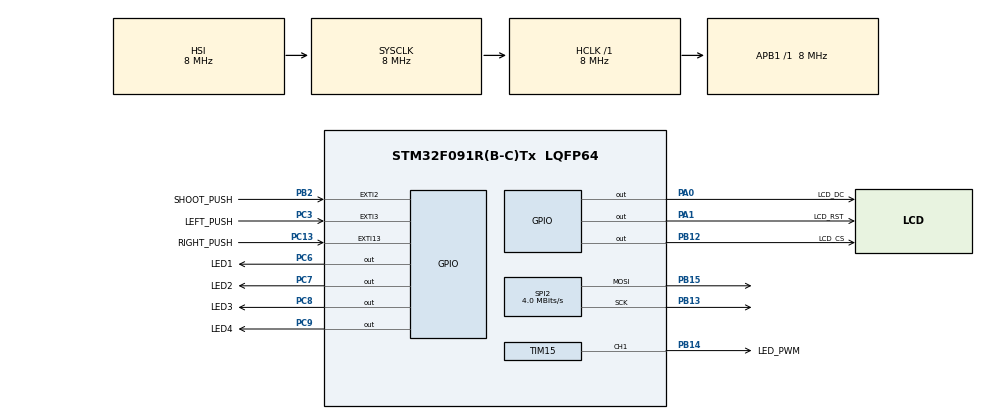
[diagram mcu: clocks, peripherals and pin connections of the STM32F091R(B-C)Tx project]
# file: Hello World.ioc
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Dma.Request0=SPI2_TX
Dma.SPI2_TX.0.Direction=DMA_MEMORY_TO_PERIPH
Dma.SPI2_TX.0.Instance=DMA1_Channel5
Dma.SPI2_TX.0.MemDataAlignment=DMA_MDATAALIGN_BYTE
Dma.SPI2_TX.0.MemInc=DMA_MINC_ENABLE
Dma.SPI2_TX.0.Mode=DMA_NORMAL
Dma.SPI2_TX.0.PeriphDataAlignment=DMA_PDATAALIGN_BYTE
Dma.SPI2_TX.0.PeriphInc=DMA_PINC_DISABLE
Dma.SPI2_TX.0.Priority=DMA_PRIORITY_LOW
Mcu.Family=STM32F0
Mcu.Name=STM32F091R(B-C)Tx
Mcu.Package=LQFP64
NVIC.DMA1_Ch4_7_DMA2_Ch3_5_IRQn=true\:0\:0\:false\:false\:true\:false\:true\:true
NVIC.EXTI2_3_IRQn=true\:0\:0\:false\:false\:true\:true\:true\:true
NVIC.EXTI4_15_IRQn=true\:0\:0\:false\:false\:true\:true\:true\:true
PA0.GPIO_Label=LCD_DC
PA0.Signal=GPIO_Output
PA1.GPIO_Label=LCD_RST
PA1.Signal=GPIO_Output
PB12.GPIO_Label=LCD_CS
PB12.Signal=GPIO_Output
PB13.Mode=TX_Only_Simplex_Unidirect_Master
PB13.Signal=SPI2_SCK
PB14.GPIO_Label=LED_PWM
PB14.Signal=S_TIM15_CH1
PB15.Mode=TX_Only_Simplex_Unidirect_Master
PB15.Signal=SPI2_MOSI
PB2.GPIO_Label=SHOOT_PUSH
PB2.GPIO_PuPd=GPIO_PULLDOWN
PB2.Signal=GPXTI2
PC13.GPIO_Label=RIGHT_PUSH
PC13.GPIO_ModeDefaultEXTI=GPIO_MODE_IT_RISING_FALLING
PC13.GPIO_PuPd=GPIO_PULLDOWN
PC13.Signal=GPXTI13
PC3.GPIO_Label=LEFT_PUSH
PC3.GPIO_ModeDefaultEXTI=GPIO_MODE_IT_RISING_FALLING
PC3.GPIO_PuPd=GPIO_PULLDOWN
PC3.Signal=GPXTI3
PC6.GPIO_Label=LED1
PC6.Signal=GPIO_Output
PC7.GPIO_Label=LED2
PC7.Signal=GPIO_Output
PC8.GPIO_Label=LED3
PC8.Signal=GPIO_Output
PC9.GPIO_Label=LED4
PC9.Signal=GPIO_Output
ProjectManager.HeapSize=0x200
ProjectManager.StackSize=0x400
ProjectManager.TargetToolchain=STM32CubeIDE
RCC.AHBFreq_Value=8000000
RCC.APB1Freq_Value=8000000
RCC.APB1TimFreq_Value=8000000
RCC.HCLKFreq_Value=8000000
RCC.SYSCLKFreq_VALUE=8000000
SH.S_TIM15_CH1.0=TIM15_CH1,PWM Generation1 CH1
SPI2.CalculateBaudRate=4.0 MBits/s
SPI2.DataSize=SPI_DATASIZE_8BIT
SPI2.Direction=SPI_DIRECTION_2LINES
SPI2.Mode=SPI_MODE_MASTER
SPI2.VirtualType=VM_MASTER
TIM15.Channel-PWM\ Generation1\ CH1=TIM_CHANNEL_1
TIM15.Period=10000-1
TIM15.Prescaler=8-1
TIM15.Pulse-PWM\ Generation1\ CH1=65535
VP_CRC_VS_CRC.Mode=CRC_Activate
board=custom

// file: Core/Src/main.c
/* USER CODE BEGIN Header */
/**
  ******************************************************************************
  * @file           : main.c
  * @brief          : Main program body
  ******************************************************************************
  * @attention
  *
  * Copyright (c) 2025 STMicroelectronics.
  * All rights reserved.
  *
  * This software is licensed under terms that can be found in the LICENSE file
  * in the root directory of this software component.
  * If no LICENSE file comes with this software, it is provided AS-IS.
  *
  ******************************************************************************
  */
/* USER CODE END Header */
#include "main.h"
#include "crc.h"
#include "dma.h"
#include "spi.h"
#include "tim.h"
#include "gpio.h"

/* USER CODE BEGIN Includes */
#include <sprites.h>
#include "LCD_Driver.h"
#include "graphics.h"
#include "game.h"
#include "stdio.h"
/* USER CODE END Includes */

void SystemClock_Config(void);

/* USER CODE BEGIN 0 */
#define DEBOUNCE_DELAY 50
volatile uint8_t left_pressed = 0;
volatile uint8_t right_pressed = 0;
volatile uint8_t shoot_pressed = 0;
volatile uint32_t last_right = 0;
volatile uint32_t last_left = 0;
volatile uint32_t last_shoot = 0;
uint16_t movement_delay = 00;
uint32_t last_move = 0;
/* USER CODE END 0 */

int main(void)
{

  /* MCU Configuration--------------------------------------------------------*/

  /* Reset of all peripherals, Initializes the Flash interface and the Systick. */
  HAL_Init();

  /* Configure the system clock */
  SystemClock_Config();

  /* Initialize all configured peripherals */
  MX_GPIO_Init();
  MX_DMA_Init();
  MX_SPI2_Init();
  MX_TIM15_Init();
  MX_CRC_Init();
  /* USER CODE BEGIN 2 */

  LCD_Init();

  game_init();
  //volatile int counter = 0;

  /* USER CODE END 2 */

  /* Infinite loop */
  while (1)
  {

    /* USER CODE BEGIN 3 */
	//if (HAL_GPIO_ReadPin(SHOOT_PUSH_GPIO_Port, SHOOT_PUSH_Pin) == GPIO_PIN_RESET) {
	//	HAL_GPIO_TogglePin(LED1_GPIO_Port, LED1_Pin);
	//	HAL_Delay(200);
	//}
	update_score_board();
	increase_score();
	move_laser();

	if (left_pressed) {
		move(-2);
	}

	if (right_pressed) {
		move(2);
	}

	if (shoot_pressed == 1) {
		shoot_pressed = 0;
		shoot_laser();
	}

  }
  /* USER CODE END 3 */
}

void SystemClock_Config(void)
{
  RCC_OscInitTypeDef RCC_OscInitStruct = {0};
  RCC_ClkInitTypeDef RCC_ClkInitStruct = {0};

  /** Initializes the RCC Oscillators according to the specified parameters
  * in the RCC_OscInitTypeDef structure.
  */
  RCC_OscInitStruct.OscillatorType = RCC_OSCILLATORTYPE_HSI;
  RCC_OscInitStruct.HSIState = RCC_HSI_ON;
  RCC_OscInitStruct.HSICalibrationValue = RCC_HSICALIBRATION_DEFAULT;
  RCC_OscInitStruct.PLL.PLLState = RCC_PLL_NONE;
  if (HAL_RCC_OscConfig(&RCC_OscInitStruct) != HAL_OK)
  {
    Error_Handler();
  }

  /** Initializes the CPU, AHB and APB buses clocks
  */
  RCC_ClkInitStruct.ClockType = RCC_CLOCKTYPE_HCLK|RCC_CLOCKTYPE_SYSCLK
                              |RCC_CLOCKTYPE_PCLK1;
  RCC_ClkInitStruct.SYSCLKSource = RCC_SYSCLKSOURCE_HSI;
  RCC_ClkInitStruct.AHBCLKDivider = RCC_SYSCLK_DIV1;
  RCC_ClkInitStruct.APB1CLKDivider = RCC_HCLK_DIV1;

  if (HAL_RCC_ClockConfig(&RCC_ClkInitStruct, FLASH_LATENCY_0) != HAL_OK)
  {
    Error_Handler();
  }
}

/* USER CODE BEGIN 4 */

void HAL_GPIO_EXTI_Callback(uint16_t GPIO_Pin) {

	uint32_t now = HAL_GetTick();

	// turns out gpio user labels are defined in main.h not gpio.h
	// Inside an interrupt context, interrupts are usually disabled or of lower priority.
	// The DMA complete callback (which sets lcd_dma_ready = true) happens in an interrupt.
	// Since interrupts are disabled while servicing GPIO EXTI, the DMA complete interrupt never runs.
	// So I need to do these flags

	switch (GPIO_Pin) {

		// set flags then in the main loop call the move() function
		case RIGHT_PUSH_Pin:

			// verify debounce then check if button was pushed or released
			if (now - last_right >= DEBOUNCE_DELAY) {
				// toggle for visual debugging
				HAL_GPIO_TogglePin(LED1_GPIO_Port, LED1_Pin);
				last_right = now;

				if (HAL_GPIO_ReadPin(RIGHT_PUSH_GPIO_Port, RIGHT_PUSH_Pin) == GPIO_PIN_SET) {
					right_pressed = 1;
				}
				else {
					right_pressed = 0;
				}
			}

			break;

		case LEFT_PUSH_Pin:

			if (now - last_left >= DEBOUNCE_DELAY) {
				HAL_GPIO_TogglePin(LED2_GPIO_Port, LED2_Pin);
				last_left = now;

				if (HAL_GPIO_ReadPin(LEFT_PUSH_GPIO_Port, LEFT_PUSH_Pin) == GPIO_PIN_SET) {
					left_pressed = 1;
				}
				else {
					left_pressed = 0;
				}
			}
			break;

		case SHOOT_PUSH_Pin:
			HAL_GPIO_TogglePin(LED3_GPIO_Port, LED3_Pin);
			if (now - last_shoot > DEBOUNCE_DELAY) {
				last_shoot = now;
				shoot_pressed = 1;
			}
			break;

		default:
			break;

	}
}
/* USER CODE END 4 */

void Error_Handler(void)
{
  __disable_irq();
  while (1)
  {
  }
}
